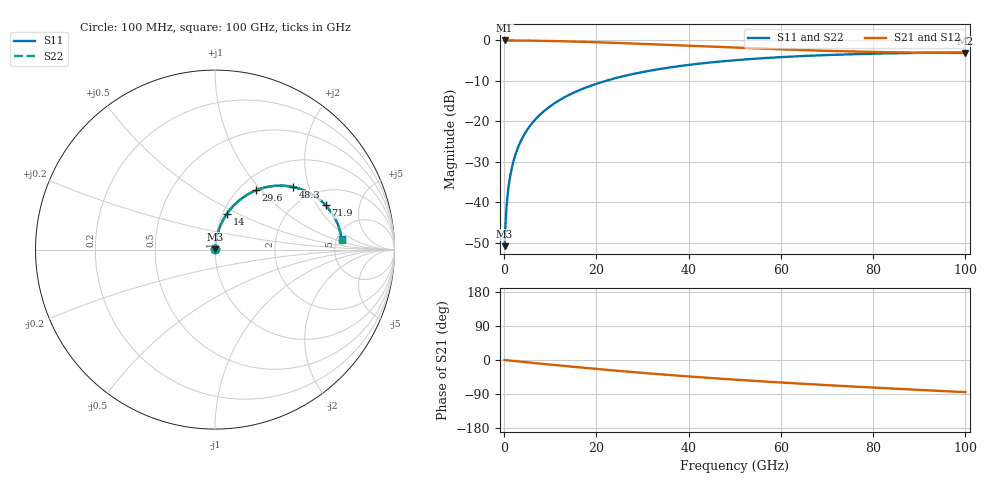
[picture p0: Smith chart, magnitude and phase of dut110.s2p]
! Touchstone file exported from HFSS 2026.1.0
!  File:  C:/ffzhzh/LocalFiles/Ansys_Project_Files/temp_train_RDL_110_1783499270_44152.aedt
!  Generated:  04:28:56 PM Jul  8, 2026
!  Design:  RDL
!  Project:  temp_train_RDL_110_1783499270_44152
! Variables:
!  h_bsmrdl = 2um
!  h_ox = 20um
!  h_rdl = 5um
!  h_sub = 80um
!  h_tmrdl = 3.36um
!  h_tsv = 80um
!  h_via = 3um
!  l_bsmrdl = 300um
!  l_sub = 660.26um
!  l_tmrdl = 260.26um
!  m_sub = 200um
!  pitch = 49.19um
!  r_tsv = 6um
!  s_tmrdl = 10um
!  w_bsmrdl = 18um
!  w_sub = 500um
!  w_tmrdl = 12.25um
!  x_tsv_center1 = 266.385um
!  x_tsv_center2 = 584.385um
!  x_tsv_center3 = 856.895um
!  x_tsv_center4 = 1174.895um
!  x_tsv_center5 = 1447.405um
!  x_tsv_center6 = 1765.405um
# GHz S MA R 50.000000
! Terminal data exported
! Port[1] = TM_RDL1_1_T1
! Port[2] = TM_RDL1_1_T2
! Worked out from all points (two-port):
!   1000 points, 100 MHz to 100 GHz, reference 50 ohm
!   highest |S21| = -0.02 dB at 100 MHz (marker M1); lowest = -3.1 dB at 100 GHz (marker M2)
!   |S21| within 3 dB of the highest: start of sweep to 88.95 GHz
!   lowest |S11| = -50.8 dB at 100 MHz (marker M3), VSWR 1.01, Z = 50.2 + j0.165 ohm
!   |S11| at or under -10 dB: start of sweep to 22.01 GHz
!   |S22| runs from -50.8 to -3.0 dB; largest |S21 - S12| = 9.3e-15
!   S11 on the Smith chart (normalised r, x): 100 MHz: 1.00, +0.00; 14 GHz: 1.05, +0.44; 29.6 GHz: 1.19, +0.94; 48.3 GHz: 1.56, +1.59; 71.9 GHz: 2.69, +2.38; 100 GHz: 5.51, +1.32
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0.1  0.002889 34.7  0.9976 -0.1  0.9976 -0.1  0.002889 34.7
! Gamma 0 0 0 0
! Port Impedance 50 0 50 0
0.4  0.006993 68.7  0.9975 -0.5  0.9975 -0.5  0.006993 68.7
0.7  0.01161 76.2  0.9973 -0.9  0.9973 -0.9  0.01161 76.2
0.9  0.01472 78.4  0.9972 -1.1  0.9972 -1.1  0.01472 78.4
1.4  0.02254 81.2  0.997 -1.7  0.997 -1.7  0.02254 81.2
1.8  0.02882 82.1  0.9967 -2.2  0.9967 -2.2  0.02882 82.1
2.3  0.03667 82.6  0.9964 -2.8  0.9964 -2.8  0.03667 82.5
3.5  0.05548 82.4  0.9953 -4.3  0.9953 -4.3  0.05548 82.4
5.3  0.08343 80.9  0.9928 -6.5  0.9928 -6.5  0.08343 80.9
7.6  0.1185 78.6  0.9885 -9.3  0.9885 -9.3  0.1185 78.5
10.5  0.1615 75.4  0.9815 -12.7  0.9815 -12.7  0.1615 75.3
14  0.2113 71.5  0.9711 -16.8  0.9711 -16.8  0.2114 71.5
16.8  0.2495 68.5  0.9614 -20.0  0.9614 -20.0  0.2495 68.4
22.6  0.3233 62.3  0.9384 -26.3  0.9384 -26.3  0.3233 62.2
29.6  0.4022 55.3  0.9069 -33.6  0.9069 -33.6  0.4022 55.2
33.4  0.4402 51.6  0.889 -37.3  0.889 -37.3  0.4402 51.5
48.3  0.5582 38.7  0.8204 -50.4  0.8204 -50.4  0.5582 38.5
50.1  0.5694 37.3  0.8128 -51.9  0.8128 -51.9  0.5694 37.1
66.7  0.6479 25.3  0.7526 -64.1  0.7526 -64.1  0.648 25.0
71.9  0.6647 21.8  0.7382 -67.6  0.7382 -67.6  0.6647 21.6
83.4  0.6911 14.7  0.714 -74.9  0.714 -74.9  0.6911 14.3
100  0.7074 4.9  0.6982 -84.9  0.6982 -84.9  0.7074 4.5
